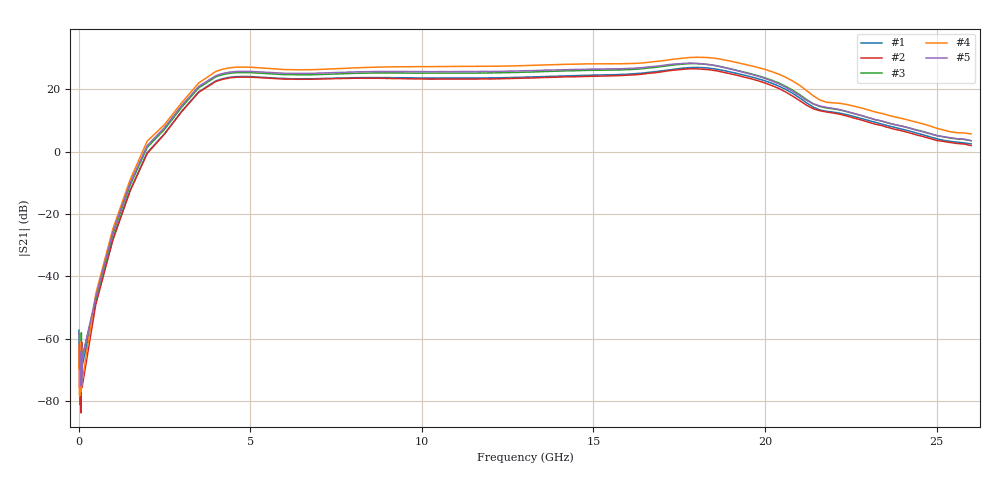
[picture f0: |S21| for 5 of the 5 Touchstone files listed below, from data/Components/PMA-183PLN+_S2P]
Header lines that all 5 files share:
!Keysight Technologies,N5244A,MY52442000,A.10.40.14
!Correction: S11(Full 2 Port(1,2))
!S21(Full 2 Port(1,2))
!S12(Full 2 Port(1,2))
!S22(Full 2 Port(1,2))
!S2P File: Measurements: S11, S21, S12, S22:
# Hz S  dB  R 50
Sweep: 10 MHz to 26 GHz
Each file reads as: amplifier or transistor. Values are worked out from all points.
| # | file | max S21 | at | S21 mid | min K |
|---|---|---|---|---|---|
| 1 | PMA-183PLN+_2.3V_Plus25DegC_TB1.s2p | 27.1 dB | 18 GHz | 24.1 dB at 13.4 GHz | 13.07 |
| 2 | PMA-183PLN+_2.3V_Plus85DegC_TB1.s2p | 26.6 dB | 17.8 GHz | 23.8 dB at 13.4 GHz | 13.16 |
| 3 | PMA-183PLN+_2.6V_Minus45DegC_TB1.s2p | 28.3 dB | 17.8 GHz | 25.7 dB at 13.4 GHz | 11.02 |
| 4 | PMA-183PLN+_2.9V_Minus45DegC_TB1.s2p | 30.3 dB | 18 GHz | 27.8 dB at 13.4 GHz | 10.42 |
| 5 | PMA-183PLN+_2.9V_Plus85DegC_TB1.s2p | 28.5 dB | 17.8 GHz | 26.1 dB at 13.4 GHz | 13.38 |
